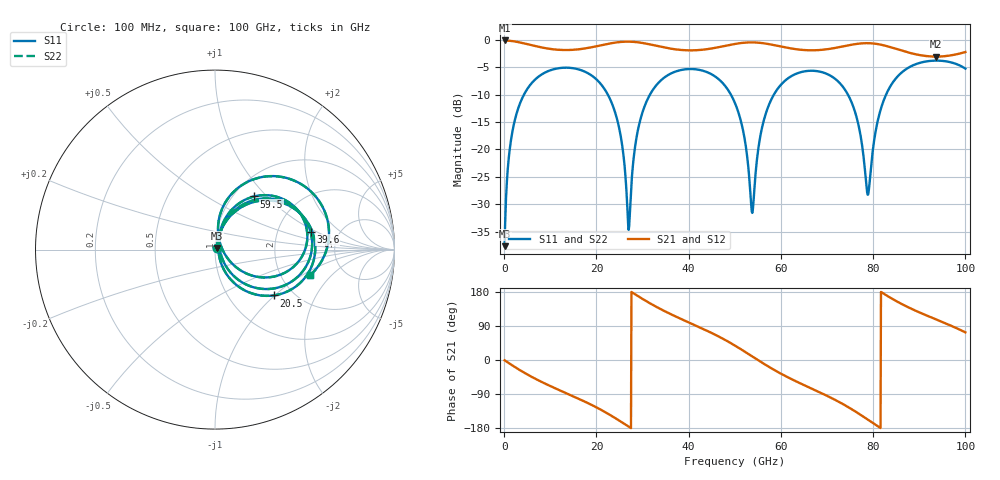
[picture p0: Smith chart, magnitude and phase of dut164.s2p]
! Touchstone file exported from HFSS 2026.1.0
!  File:  C:/ffzhzh/LocalFiles/Ansys_Project_Files/temp_train_TSV_RDL_164_1783649367_33328.aedt
!  Generated:  10:19:06 AM Jul 10, 2026
!  Design:  TSV_RDL
!  Project:  temp_train_TSV_RDL_164_1783649367_33328
! Variables:
!  h_bsmrdl = 4.38um
!  h_ox = 20um
!  h_rdl = 5um
!  h_sub = 57.92um
!  h_tmrdl = 4.76um
!  h_tsv = 57.92um
!  h_via = 3um
!  l_bsmrdl = 463.15um
!  l_sub = 2311.27um
!  l_tmrdl = 102.33um
!  m_sub = 200um
!  pitch = 51.74um
!  r_tsv = 5.04um
!  s_tmrdl = 10um
!  w_bsmrdl = 24.16um
!  w_sub = 500um
!  w_tmrdl = 13.34um
!  x_tsv_center1 = 109um
!  x_tsv_center2 = 596.31um
!  x_tsv_center3 = 711.98um
!  x_tsv_center4 = 1199.29um
!  x_tsv_center5 = 1314.96um
!  x_tsv_center6 = 1802.27um
# GHz S MA R 50.000000
! Terminal data exported
! Port[1] = TM_RDL1_1_T1
! Port[2] = TM_RDL5_1_T1
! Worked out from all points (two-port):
!   1000 points, 100 MHz to 100 GHz, reference 50 ohm
!   highest |S21| = -0.08 dB at 100 MHz (marker M1); lowest = -3.0 dB at 93.7 GHz (marker M2)
!   |S21| within 3 dB of the highest: start of sweep to end of sweep
!   lowest |S11| = -37.7 dB at 100 MHz (marker M3), VSWR 1.03, Z = 51 + j0.884 ohm
!   |S11| at or under -10 dB: 22.49 GHz to 31.6 GHz (9.104 GHz wide, 33.7 % of centre); 49.17 GHz to 58.47 GHz (9.293 GHz wide, 17.3 % of centre); 74.55 GHz to 82.79 GHz (8.242 GHz wide, 10.5 % of centre) (the widest 3 of 4)
!   |S22| runs from -37.7 to -3.8 dB; largest |S21 - S12| = 7.2e-13
!   S11 on the Smith chart (normalised r, x): 100 MHz: 1.02, +0.02; 20.5 GHz: 1.60, -0.99; 39.6 GHz: 3.09, +0.87; 59.5 GHz: 1.24, +0.85; 100 GHz: 2.89, -1.18
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0.1  0.01309 41.5  0.9903 -0.8  0.9903 -0.8  0.01309 41.5
! Gamma 0 0 0 0
! Port Impedance 50 0 50 0
1.5  0.1232 72.2  0.9802 -12.1  0.9802 -12.1  0.1232 72.2
4.2  0.3112 54.5  0.9335 -32.4  0.9335 -32.4  0.3112 54.5
10.8  0.5413 15.1  0.8208 -73.1  0.8208 -73.1  0.5413 15.1
16.8  0.5281 -16.5  0.8286 -105.8  0.8286 -105.8  0.5281 -16.5
20.5  0.4164 -37.8  0.8852 -128.2  0.8852 -128.2  0.4164 -37.8
24.7  0.1736 -63.4  0.9542 -158.0  0.9542 -158.0  0.1736 -63.3
27  0.01842 1.8  0.9657 -175.8  0.9657 -175.8  0.01875 1.9
29.3  0.1714 69.5  0.9488 166.5  0.9488 166.5  0.1715 69.4
33.4  0.4042 44.9  0.8775 137.6  0.8775 137.6  0.4042 44.8
39.6  0.5415 10.6  0.8051 101.5  0.8051 101.5  0.5415 10.5
50.1  0.2619 -48.1  0.9211 37.6  0.9211 37.6  0.2619 -48.1
53.8  0.02632 11.3  0.9508 9.3  0.9508 9.3  0.02664 11.4
56  0.1643 72.8  0.9364 -7.7  0.9364 -7.7  0.1644 72.7
59.5  0.3678 53.6  0.8805 -32.7  0.8805 -32.7  0.3679 53.5
66.7  0.5237 13.9  0.8049 -75.7  0.8049 -75.7  0.5238 13.8
74.9  0.2958 -31.4  0.8986 -126.5  0.8986 -126.5  0.2959 -31.4
78.8  0.03869 15.5  0.9354 -157.0  0.9354 -157.0  0.03882 15.4
81  0.1829 82.4  0.9175 -174.8  0.9175 -174.8  0.183 82.2
83.4  0.3568 70.5  0.8691 166.8  0.8691 166.8  0.3569 70.4
93.7  0.6482 16.2  0.7053 106.8  0.7053 106.8  0.6483 16.1
100  0.5477 -15.1  0.7763 72.9  0.7763 72.9  0.5478 -15.3
